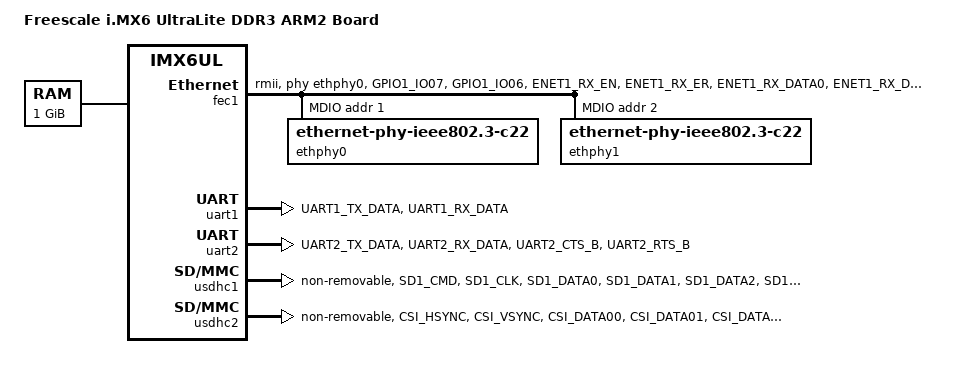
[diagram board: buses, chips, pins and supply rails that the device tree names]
/*
 * Copyright (C) 2015 Freescale Semiconductor, Inc.
 *
 * This program is free software; you can redistribute it and/or modify
 * it under the terms of the GNU General Public License version 2 as
 * published by the Free Software Foundation.
 */

/dts-v1/;

#include <dt-bindings/input/input.h>
#include "imx6ul.dtsi"

/ {
	model = "Freescale i.MX6 UltraLite DDR3 ARM2 Board";
	compatible = "fsl,imx6ul-ddr3-arm2", "fsl,imx6ul";

	chosen {
		stdout-path = &uart1;
	};

	memory {
		reg = <0x80000000 0x40000000>;
	};
};

&fec1 {
	pinctrl-names = "default";
	pinctrl-0 = <&pinctrl_enet1>;
	phy-mode = "rmii";
	phy-handle = <&ethphy0>;
	status = "okay";

	mdio {
		#address-cells = <1>;
		#size-cells = <0>;

		ethphy0: ethernet-phy@1 {
			compatible = "ethernet-phy-ieee802.3-c22";
			reg = <1>;
		};

		ethphy1: ethernet-phy@2 {
			compatible = "ethernet-phy-ieee802.3-c22";
			reg = <2>;
		};
	};
};

&gpc {
	fsl,cpu_pupscr_sw2iso = <0x2>;
	fsl,cpu_pupscr_sw = <0x1>;
	fsl,cpu_pdnscr_iso2sw = <0x1>;
	fsl,cpu_pdnscr_iso = <0x1>;
	fsl,wdog-reset = <1>; /* watchdog select of reset source */
	fsl,ldo-bypass = <1>; /* use ldo-bypass, u-boot will check it and configure */
};

&uart1 {
	pinctrl-names = "default";
	pinctrl-0 = <&pinctrl_uart1>;
	status = "okay";
};

&uart2 {
	pinctrl-names = "default";
	pinctrl-0 = <&pinctrl_uart2>;
	fsl,uart-has-rtscts;
	status = "okay";
};

&usdhc1 {
	pinctrl-names = "default";
	pinctrl-0 = <&pinctrl_usdhc1_1>;
	non-removable;
	/* need hw rework to enable signal voltage switch */
	no-1-8-v;
	keep-power-in-suspend;
	enable-sdio-wakeup;
	status = "okay";
};

&usdhc2 {
	pinctrl-names = "default";
	pinctrl-0 = <&pinctrl_usdhc2_1>;
	non-removable;
	/* need hw rework to enable signal voltage switch */
	no-1-8-v;
	keep-power-in-suspend;
	enable-sdio-wakeup;
	status = "okay";
};

&iomuxc {
	imx6ul-ddr3-arm2 {
		pinctrl_enet1: enet1grp {
			fsl,pins = <
				MX6UL_PAD_GPIO1_IO07__ENET1_MDC		0x1b0b0
				MX6UL_PAD_GPIO1_IO06__ENET1_MDIO	0x1b0b0
				MX6UL_PAD_ENET1_RX_EN__ENET1_RX_EN	0x1b0b0
				MX6UL_PAD_ENET1_RX_ER__ENET1_RX_ER	0x1b0b0
				MX6UL_PAD_ENET1_RX_DATA0__ENET1_RDATA00	0x1b0b0
				MX6UL_PAD_ENET1_RX_DATA1__ENET1_RDATA01	0x1b0b0
				MX6UL_PAD_ENET1_TX_EN__ENET1_TX_EN	0x1b0b0
				MX6UL_PAD_ENET1_TX_DATA0__ENET1_TDATA00	0x1b0b0
				MX6UL_PAD_ENET1_TX_DATA1__ENET1_TDATA01	0x1b0b0
				MX6UL_PAD_ENET1_TX_CLK__ENET1_REF_CLK1	0x4001b0a8
			>;
		};

		pinctrl_uart1: uart1grp {
			fsl,pins = <
				MX6UL_PAD_UART1_TX_DATA__UART1_DCE_TX 0x1b0b1
				MX6UL_PAD_UART1_RX_DATA__UART1_DCE_RX 0x1b0b1
			>;
		};

		pinctrl_uart2: uart2grp {
			fsl,pins = <
				MX6UL_PAD_UART2_TX_DATA__UART2_DCE_TX 0x1b0b1
				MX6UL_PAD_UART2_RX_DATA__UART2_DCE_RX 0x1b0b1
				MX6UL_PAD_UART2_CTS_B__UART2_DCE_CTS  0x1b0b1
				MX6UL_PAD_UART2_RTS_B__UART2_DCE_RTS  0x1b0b1
			>;
		};

		pinctrl_usdhc1_1: usdhc1grp-1 {
			fsl,pins = <
				MX6UL_PAD_SD1_CMD__USDHC1_CMD     0x17059
				MX6UL_PAD_SD1_CLK__USDHC1_CLK     0x10059
				MX6UL_PAD_SD1_DATA0__USDHC1_DATA0 0x17059
				MX6UL_PAD_SD1_DATA1__USDHC1_DATA1 0x17059
				MX6UL_PAD_SD1_DATA2__USDHC1_DATA2 0x17059
				MX6UL_PAD_SD1_DATA3__USDHC1_DATA3 0x17059
			>;
		};

		pinctrl_usdhc2_1: usdhc2grp-1 {
			fsl,pins = <
				MX6UL_PAD_CSI_HSYNC__USDHC2_CMD     0x17059
				MX6UL_PAD_CSI_VSYNC__USDHC2_CLK     0x10059
				MX6UL_PAD_CSI_DATA00__USDHC2_DATA0 0x17059
				MX6UL_PAD_CSI_DATA01__USDHC2_DATA1 0x17059
				MX6UL_PAD_CSI_DATA02__USDHC2_DATA2 0x17059
				MX6UL_PAD_CSI_DATA03__USDHC2_DATA3 0x17059
			>;
		};
	};
};
